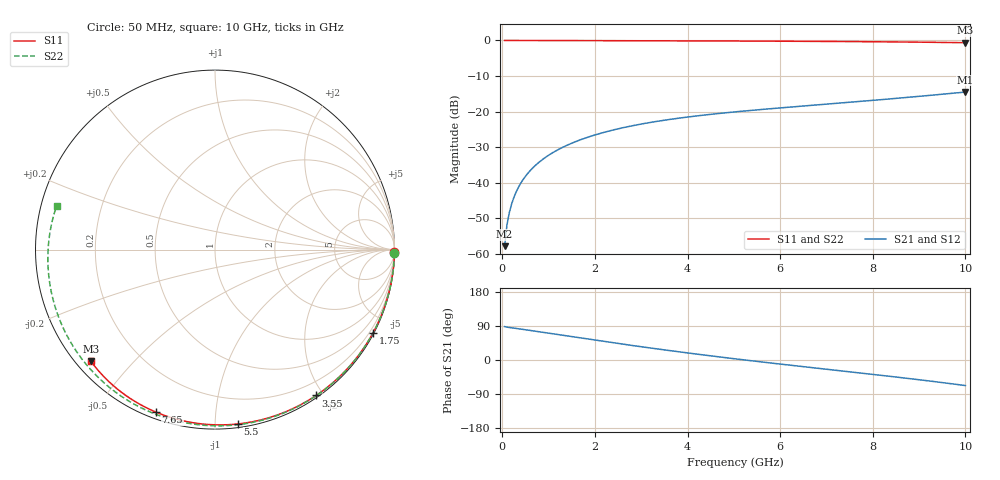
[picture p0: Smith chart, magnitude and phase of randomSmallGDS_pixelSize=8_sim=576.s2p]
! freq	dB(S11)	phase(S11)	dB(S12)	phase(S12)
!  dB(S21)	phase(S21)	dB(S22)	phase(S22)
!S-par simulation data
#  GHz  S  DB  R 50
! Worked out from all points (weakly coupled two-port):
!   200 points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, 50 MHz to 10 GHz, reference 50 ohm
!   highest |S21| = -14.50 dB at 10 GHz (marker M1); lowest = -57.8 dB at 50 MHz (marker M2)
!   lowest |S11| = -0.6 dB at 10 GHz (marker M3), VSWR 27.62, Z = 2.08 - j19.1 ohm
!   |S11| at or under -10 dB: nowhere
!   |S22| runs from -0.8 to 0.0 dB; largest |S21 - S12| = 0
!   S11 on the Smith chart (normalised r, x): 50 MHz: open; 1.75 GHz: 0.04, -4.02; 3.55 GHz: 0.03, -1.91; 5.5 GHz: 0.02, -1.14; 7.65 GHz: 0.03, -0.70; 10 GHz: 0.04, -0.38
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0.05  -0.00 -0.8  -57.81 88.1  -57.81 88.1  -0.00 -1.1
0.1  -0.00 -1.6  -51.90 86.7  -51.90 86.7  -0.00 -2.2
0.15  -0.00 -2.4  -48.47 85.8  -48.47 85.8  -0.00 -3.3
0.2  -0.00 -3.3  -46.02 85.0  -46.02 85.0  -0.00 -4.4
0.25  -0.00 -4.1  -44.12 84.1  -44.12 84.1  -0.00 -5.5
0.35  -0.00 -5.7  -41.24 82.5  -41.24 82.5  -0.01 -7.7
0.5  -0.01 -8.1  -38.17 79.8  -38.17 79.8  -0.01 -11.0
0.7  -0.01 -11.3  -35.29 76.2  -35.29 76.2  -0.02 -15.4
1  -0.02 -16.1  -32.26 70.7  -32.26 70.7  -0.03 -21.9
1.35  -0.03 -21.7  -29.74 64.2  -29.74 64.2  -0.04 -29.5
1.75  -0.04 -28.0  -27.62 56.9  -27.62 56.9  -0.06 -38.0
2.6  -0.07 -41.1  -24.54 41.8  -24.54 41.8  -0.09 -55.6
3.4  -0.09 -53.0  -22.61 28.3  -22.61 28.3  -0.12 -71.6
3.55  -0.10 -55.2  -22.32 25.9  -22.32 25.9  -0.12 -74.5
4.3  -0.12 -66.0  -21.05 14.0  -21.05 14.0  -0.16 -88.9
5.05  -0.16 -76.4  -20.04 2.8  -20.04 2.8  -0.20 -102.8
5.5  -0.18 -82.5  -19.51 -3.7  -19.51 -3.7  -0.22 -110.9
6.7  -0.25 -98.1  -18.22 -20.3  -18.22 -20.3  -0.31 -132.3
7.65  -0.32 -110.0  -17.22 -33.1  -17.22 -33.1  -0.41 -149.3
8.35  -0.39 -118.5  -16.45 -42.8  -16.45 -42.8  -0.49 -162.2
9.2  -0.50 -128.6  -15.47 -55.0  -15.47 -55.0  -0.62 -178.7
10  -0.63 -138.1  -14.50 -67.4  -14.50 -67.4  -0.77 164.6
